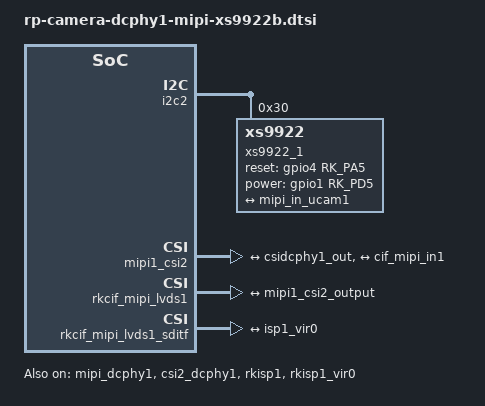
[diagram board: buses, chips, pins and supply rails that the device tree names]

&i2c2 {
        status = "okay";
        pinctrl-names = "default";
        pinctrl-0 = <&i2c2m4_xfer>;


        xs9922_1: xs9922@30 {
                compatible = "xs9922";
                status = "okay";
                reg = <0x30>;
                clocks = <&cru CLK_MIPI_CAMARAOUT_M1>;
                clock-names = "xvclk";
                power-domains = <&power RK3588_PD_VI>;
                pinctrl-names = "default";
                pinctrl-0 = <&xs9922_pwr_1>;
                reset-gpios = <&gpio4 RK_PA5 GPIO_ACTIVE_HIGH>;
                power-gpios = <&gpio1 RK_PD5 GPIO_ACTIVE_HIGH>;
                //avdd-supply = <&vcc_avdd>;
                //dovdd-supply = <&vcc_dovdd>;
                //dvdd-supply = <&vcc_dvdd>;
                rockchip,camera-module-index = <0>;
                rockchip,camera-module-facing = "back";
                rockchip,camera-module-name = "default";
                rockchip,camera-module-lens-name = "default";
                rockchip,default_rect= <1280 720>; 
                port {
                        ucam_out1: endpoint {
                                remote-endpoint = <&mipi_in_ucam1>;
                                data-lanes = <1 2 3 4>;
                        };
                };
        };
};

&pinctrl {
        xs9922 {
                xs9922_pwr_1: camera-pwr_1 {
                        rockchip,pins =
                            <1 RK_PD5 RK_FUNC_GPIO &pcfg_pull_none>,
                            <4 RK_PA5 RK_FUNC_GPIO &pcfg_pull_none>;
                };
        };
};

&mipi_dcphy1 {
    status = "okay";
};

&csi2_dcphy1 {
    status = "okay";

    ports {
        #address-cells = <1>;
        #size-cells = <0>;
    port@0 {
            reg = <0>;
            #address-cells = <1>;
            #size-cells = <0>;

            mipi_in_ucam1: endpoint@1 {
                reg = <1>;
                remote-endpoint = <&ucam_out1>;
        data-lanes = <1 2 3 4>;
            };
        };

        port@1 {
            reg = <1>;
            #address-cells = <1>;
            #size-cells = <0>;

            csidcphy1_out: endpoint@0 {
                reg = <0>;
                remote-endpoint = <&mipi1_csi2_input>;
            };
        };
    };
};

&mipi1_csi2 {
    status = "okay";

    ports {
        #address-cells = <1>;
        #size-cells = <0>;

        port@0 {
            reg = <0>;
            #address-cells = <1>;
            #size-cells = <0>;

            mipi1_csi2_input: endpoint@0 {
                reg = <0>;
                remote-endpoint = <&csidcphy1_out>;
            };
        };

        port@1 {
            reg = <1>;
            #address-cells = <1>;
            #size-cells = <0>;

            mipi1_csi2_output: endpoint@1 {
                reg = <1>;
                remote-endpoint = <&cif_mipi_in1>;
            };
        };
    };
};

&rkcif_mipi_lvds1 {
    status = "okay";

    port {
        cif_mipi_in1: endpoint {
            remote-endpoint = <&mipi1_csi2_output>;
        };
    };
};

&rkcif_mipi_lvds1_sditf {
    status = "okay";

    port {
        mipi_lvds1_sditf: endpoint {
            remote-endpoint = <&isp1_vir0>;
        };
    };
};

&rkisp1 {
    status = "okay";
};

&isp1_mmu {
    status = "okay";
};

&rkisp1_vir0 {
    status = "okay";
    port {
        #address-cells = <1>;
        #size-cells = <0>;

        isp1_vir0: endpoint@0 {
            reg = <0>;
            remote-endpoint = <&mipi_lvds1_sditf>;
        };
    };
};

